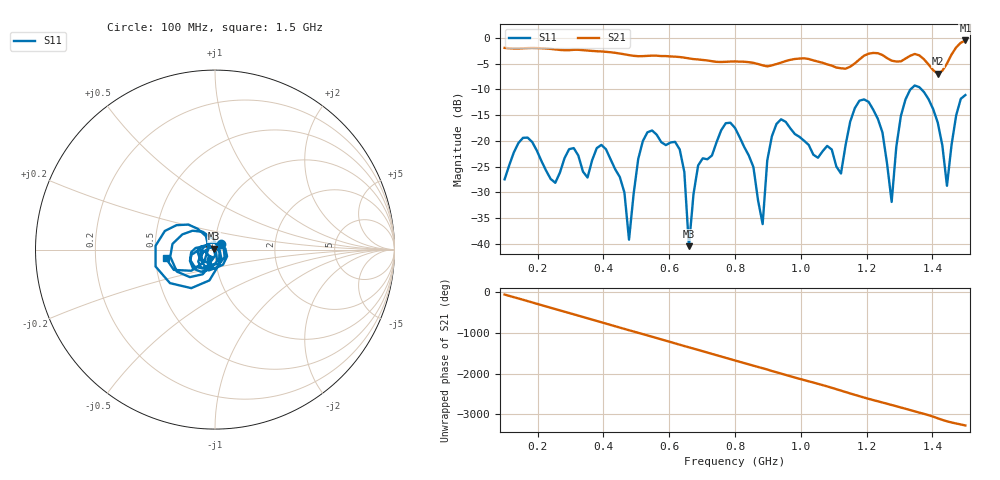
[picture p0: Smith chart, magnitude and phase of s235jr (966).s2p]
! NanoVNA-App
! Date: 2025-09-25 15:11:41
! Start: 100MHz Stop: 1,5GHz Points: 101
! S-Parameter data: F S11 S21 S12 S22
# Hz S RI R 50
!  Frequency  S11_Real  S11_Imag  S21_Real  S21_Imag  S12_Real  S12_Imag  S22_Real  S22_Imag
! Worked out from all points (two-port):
!   101 points, 100 MHz to 1.5 GHz, reference 50 ohm
!   highest |S21| = -0.52 dB at 1.5 GHz (marker M1); lowest = -7.0 dB at 1.416 GHz (marker M2)
!   |S21| within 3 dB of the highest: start of sweep to 495.4 MHz; 1.191 GHz to 1.252 GHz (60.95 MHz wide, 4.99 % of centre) (the widest 2 of 5)
!   lowest |S11| = -40.4 dB at 660 MHz (marker M3), VSWR 1.02, Z = 49.2 + j0.537 ohm
!   |S11| at or under -10 dB: start of sweep to 1.334 GHz; 1.366 GHz to end of sweep
!   S12 and S22 are empty: the file has one direction only
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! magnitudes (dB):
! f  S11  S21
! 100 MHz  -27.5  -2.0
! 156 MHz  -19.4  -2.0
! 338 MHz  -26.0  -2.4
! 408 MHz  -21.6  -2.7
! 478 MHz  -39.2  -3.4
! 520 MHz  -20.0  -3.6
! 576 MHz  -20.3  -3.5
! 632 MHz  -21.7  -3.7
! 660 MHz  -40.4  -4.0
! 688 MHz  -24.8  -4.2
! 800 MHz  -17.5  -4.6
! 884 MHz  -36.2  -5.4
! 898 MHz  -23.8  -5.6
! 926 MHz  -16.7  -5.1
! 1.038 GHz  -22.7  -4.4
! 1.122 GHz  -26.3  -5.9
! 1.206 GHz  -12.4  -3.1
! 1.276 GHz  -31.9  -4.4
! 1.332 GHz  -10.1  -3.5
! 1.416 GHz  -16.4  -7.0
! 1.444 GHz  -28.7  -5.0
! 1.5 GHz  -11.1  -0.5
